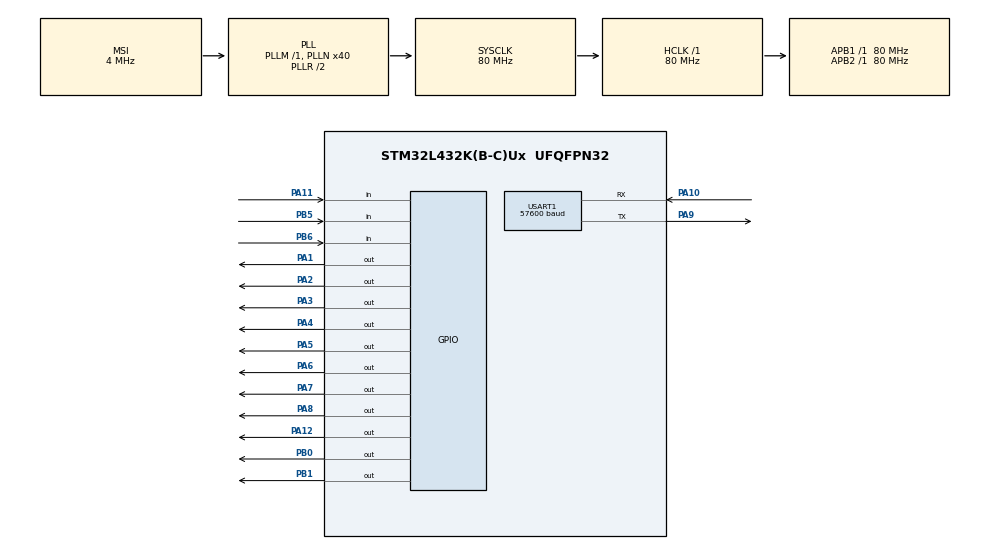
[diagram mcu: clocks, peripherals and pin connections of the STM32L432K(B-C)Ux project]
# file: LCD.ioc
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FREERTOS.Tasks01=defaultTask,24,128,StartDefaultTask,Default,NULL,Dynamic,NULL,NULL;AddFP,8,128,StartAddFP,Default,NULL,Dynamic,NULL,NULL;VerifyFP,8,128,StartVerifyFP,Default,NULL,Dynamic,NULL,NULL
Mcu.Family=STM32L4
Mcu.Name=STM32L432K(B-C)Ux
Mcu.Package=UFQFPN32
NVIC.PriorityGroup=NVIC_PRIORITYGROUP_4
NVIC.TIM2_IRQn=true\:15\:0\:false\:false\:true\:false\:false\:true
NVIC.TimeBase=TIM2_IRQn
NVIC.TimeBaseIP=TIM2
NVIC.USART1_IRQn=true\:5\:0\:false\:false\:true\:true\:true\:true
PA0.Mode=HSE-External-Clock-Source-for-LittleOrca
PA0.Signal=RCC_CK_IN
PA1.Signal=GPIO_Output
PA10.Mode=Asynchronous
PA10.Signal=USART1_RX
PA11.Signal=GPIO_Input
PA12.Signal=GPIO_Output
PA13\ (JTMS-SWDIO).Mode=Serial_Wire
PA13\ (JTMS-SWDIO).Signal=SYS_JTMS-SWDIO
PA14\ (JTCK-SWCLK).Mode=Serial_Wire
PA14\ (JTCK-SWCLK).Signal=SYS_JTCK-SWCLK
PA2.Signal=GPIO_Output
PA3.Signal=GPIO_Output
PA4.Signal=GPIO_Output
PA5.Signal=GPIO_Output
PA6.Signal=GPIO_Output
PA7.Signal=GPIO_Output
PA8.Signal=GPIO_Output
PA9.Mode=Asynchronous
PA9.Signal=USART1_TX
PB0.Signal=GPIO_Output
PB1.Signal=GPIO_Output
PB5.GPIO_PuPd=GPIO_PULLDOWN
PB5.Signal=GPIO_Input
PB6.GPIO_PuPd=GPIO_PULLDOWN
PB6.Signal=GPIO_Input
PC14-OSC32_IN\ (PC14).Mode=LSE-External-Oscillator
PC14-OSC32_IN\ (PC14).Signal=RCC_OSC32_IN
PC15-OSC32_OUT\ (PC15).Mode=LSE-External-Oscillator
PC15-OSC32_OUT\ (PC15).Signal=RCC_OSC32_OUT
ProjectManager.HeapSize=0x200
ProjectManager.StackSize=0x400
ProjectManager.TargetToolchain=MDK-ARM V5
RCC.ADCFreq_Value=16000000
RCC.AHBFreq_Value=80000000
RCC.APB1Freq_Value=80000000
RCC.APB1TimFreq_Value=80000000
RCC.APB2Freq_Value=80000000
RCC.APB2TimFreq_Value=80000000
RCC.CortexFreq_Value=80000000
RCC.HCLKFreq_Value=80000000
RCC.HSE_VALUE=8000000
RCC.HSI48_VALUE=48000000
RCC.HSI_VALUE=16000000
RCC.MSI_VALUE=4000000
RCC.PLLN=40
RCC.SYSCLKFreq_VALUE=80000000
RCC.SYSCLKSource=RCC_SYSCLKSOURCE_PLLCLK
RCC.USBFreq_Value=16000000
RCC.VCOOutputFreq_Value=160000000
TIM1.Period=0xffff-1
TIM1.Prescaler=71
USART1.BaudRate=57600
USART1.StopBits=STOPBITS_2
USART1.VirtualMode-Asynchronous=VM_ASYNC
VP_FREERTOS_VS_CMSIS_V2.Mode=CMSIS_V2
VP_SYS_VS_tim2.Mode=TIM2
VP_TIM1_VS_ClockSourceINT.Mode=Internal
board=custom

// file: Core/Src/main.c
/* USER CODE BEGIN Header */
/**
  ******************************************************************************
  * @file           : main.c
  * @brief          : Main program body
  ******************************************************************************
  * @attention
  *
  * <h2><center>&copy; Copyright (c) 2021 STMicroelectronics.
  * All rights reserved.</center></h2>
  *
  * This software component is licensed by ST under BSD 3-Clause license,
  * the "License"; You may not use this file except in compliance with the
  * License. You may obtain a copy of the License at:
  *                        opensource.org/licenses/BSD-3-Clause
  *
  ******************************************************************************
  */
/* USER CODE END Header */
#include "main.h"
#include "cmsis_os.h"

/* USER CODE BEGIN Includes */
#include "LCD1602.h"
uint8_t shoot=0;
uint8_t shoot1=0;

void debounce(void)
{
	// Counter for number of equal states
	static uint8_t count = 0;
	// Keeps track of current (debounced) state
	static uint8_t button_state = 0;
	// Check if button is high or low for the moment
	uint8_t current_state = HAL_GPIO_ReadPin(GPIOB, GPIO_PIN_5);
	if (current_state != button_state)
	{
		// Button state is about to be changed, increase counter
		count++;
		if (count >= 5) {
			// The button have not bounced for some checks, change state
			button_state = current_state;
			if (current_state != 0) {
				shoot=1;
			}
			count = 0;
		}
	} else {
	// Reset counter
		count = 0;
	}
}

void debounce2(void)
{
	// Counter for number of equal states
	static uint8_t count2 = 0;
	// Keeps track of current (debounced) state
	static uint8_t button_state2 = 0;
	// Check if button is high or low for the moment
	uint8_t current_state2 = HAL_GPIO_ReadPin(GPIOB, GPIO_PIN_6);
	if (current_state2 != button_state2)
	{
		// Button state is about to be changed, increase counter
		count2++;
		if (count2 >= 5) {
			// The button have not bounced for some checks, change state
			button_state2 = current_state2;
			if (current_state2 != 0) {
				shoot1=1;
			}
			count2 = 0;
		}
	} else {
	// Reset counter
		count2 = 0;
	}
}

/* USER CODE END Includes */

/* USER CODE BEGIN PTD */
uint8_t finger_id=1;
uint8_t FPM10A_RECEICE_BUFFER[12]={0x0,0x0,0x1,0x0,0x0,0x0,0x0,0x0,0x0,0xA,0x0,0x00};
/* USER CODE END PTD */

TIM_HandleTypeDef htim1;

UART_HandleTypeDef huart1;

/* Definitions for defaultTask */
osThreadId_t defaultTaskHandle;
const osThreadAttr_t defaultTask_attributes = {
  .name = "defaultTask",
  .stack_size = 128 * 4,
  .priority = (osPriority_t) osPriorityNormal,
};
/* Definitions for AddFP */
osThreadId_t AddFPHandle;
const osThreadAttr_t AddFP_attributes = {
  .name = "AddFP",
  .stack_size = 128 * 4,
  .priority = (osPriority_t) osPriorityLow,
};
/* Definitions for VerifyFP */
osThreadId_t VerifyFPHandle;
const osThreadAttr_t VerifyFP_attributes = {
  .name = "VerifyFP",
  .stack_size = 128 * 4,
  .priority = (osPriority_t) osPriorityLow,
};

void SystemClock_Config(void);
static void MX_GPIO_Init(void);
static void MX_TIM1_Init(void);
static void MX_USART1_UART_Init(void);
void StartDefaultTask(void *argument);
void StartAddFP(void *argument);
void StartVerifyFP(void *argument);

/* USER CODE BEGIN PFP */

uint8_t FPM10A_Pack_Head[6] = {0xEF,0x01,0xFF,0xFF,0xFF,0xFF};
uint8_t FPM10A_Get_Img[6] = {0x01,0x00,0x03,0x01,0x00,0x05};
uint8_t FPM10A_Search[11]={0x01,0x00,0x08,0x04,0x01,0x00,0x00,0x03,0xE7,0x00,0xF8};
uint8_t FPM10A_Img_To_Buffer1[7]={0x01,0x00,0x04,0x02,0x01,0x00,0x08};
uint8_t FPM10A_Img_To_Buffer2[7]={0x01,0x00,0x04,0x02,0x02,0x00,0x09};
uint8_t FPM10A_Reg_Model[6]={0x01,0x00,0x03,0x05,0x00,0x09};
uint8_t FPM10A_Save_Finger[9]={0x01,0x00,0x06,0x06,0x01,0x00,0x0B,0x00,0x19};

void FPM10A_Cmd_Send_Pack_Head(void)
{
	int i;
	taskENTER_CRITICAL();
	for(i=0;i<6;i++)
  {
	 HAL_UART_Transmit(&huart1, &FPM10A_Pack_Head[i],1,10000 );
	}
taskEXIT_CRITICAL();
}

void FPM10A_Cmd_Get_Img(void)
{
    unsigned char i;

    FPM10A_Cmd_Send_Pack_Head();
	taskENTER_CRITICAL();
    for(i=0;i<6;i++) //???? 0x1d
		{
				HAL_UART_Transmit(&huart1, &FPM10A_Get_Img[i],1,10000);

		}
		taskEXIT_CRITICAL();
}

void FPM10A_Receive_Data(unsigned char ucLength)
{
  unsigned char i;

	taskENTER_CRITICAL();
		HAL_UART_Receive(&huart1,FPM10A_RECEICE_BUFFER, 12,1000);

	 taskEXIT_CRITICAL();

}

void FPM10A_Cmd_Reg_Model(void)
{
       unsigned char i;

			 FPM10A_Cmd_Send_Pack_Head();
     taskENTER_CRITICAL();
       for(i=0;i<6;i++)
       {
    	      HAL_UART_Transmit(&huart1,&FPM10A_Reg_Model[i], 1,1000);
   		 }
			 taskEXIT_CRITICAL();
}

void FINGERPRINT_Cmd_Img_To_Buffer1(void)
{
 	unsigned char i;
	FPM10A_Cmd_Send_Pack_Head();
	taskENTER_CRITICAL();
	for(i=0;i<7;i++)
	{
		HAL_UART_Transmit(&huart1,&FPM10A_Img_To_Buffer1[i], 1,1000);
	}
	taskEXIT_CRITICAL();
}

void FINGERPRINT_Cmd_Img_To_Buffer2(void)
{
    unsigned char i;
		taskENTER_CRITICAL();
		for(i=0;i<6;i++)
		{
			HAL_UART_Transmit(&huart1,&FPM10A_Pack_Head[i], 1,1000);
		}
		taskEXIT_CRITICAL();
		taskENTER_CRITICAL();
		for(i=0;i<7;i++)
		{
			HAL_UART_Transmit(&huart1,&FPM10A_Img_To_Buffer2[i], 1,1000);
		}
		taskEXIT_CRITICAL();
}

void FPM10A_Cmd_Save_Finger( unsigned int storeID )
{
		unsigned long temp = 0;
		unsigned char i;
		FPM10A_Save_Finger[5] =(storeID&0xFF00)>>8;
		FPM10A_Save_Finger[6] = (storeID&0x00FF);

		for(i=0;i<7;i++)
			temp = temp + FPM10A_Save_Finger[i];
		FPM10A_Save_Finger[7]=(temp & 0x00FF00) >> 8;
		FPM10A_Save_Finger[8]= temp & 0x0000FF;
		FPM10A_Cmd_Send_Pack_Head();

		for(i=0;i<9;i++)
			HAL_UART_Transmit(&huart1, &FPM10A_Save_Finger[i], 1,1000);
}
void FPM10A_Cmd_Search_Finger(void)
{
	unsigned char i;
	FPM10A_Cmd_Send_Pack_Head();
		taskENTER_CRITICAL();
	for(i=0;i<11;i++)
	{
		HAL_UART_Transmit(&huart1, &FPM10A_Search[i], 1,1000);
	}
	taskEXIT_CRITICAL();
}

uint8_t fraud=0;
void FPM10A_Find_Fingerprint()
{
	HAL_Delay(2000);
	unsigned int find_fingerid = 0;
	//notify the user to place his finger
	lcd_send_string("Place your finger ");
	HAL_Delay(2000);
	lcd_clear();
	FPM10A_Cmd_Get_Img();
  // if Recieved successfully
	if(FPM10A_RECEICE_BUFFER[9]==0)
	{
		HAL_Delay(100);
		FINGERPRINT_Cmd_Img_To_Buffer1();
		HAL_Delay(100);
		FPM10A_Receive_Data(12);
		FPM10A_Cmd_Search_Finger();
		HAL_Delay(100);
		FPM10A_Receive_Data(16);
		// if Recieved successfully
		if(FPM10A_RECEICE_BUFFER[9] == 0)
		{
			HAL_Delay(100);
			lcd_send_string("Access Granted ");
			HAL_GPIO_WritePin(GPIOB, GPIO_PIN_1, 1);
			HAL_Delay(1500);
			HAL_GPIO_WritePin(GPIOB, GPIO_PIN_1, 0);
			fraud=0;
			HAL_Delay(2000);
			lcd_clear();
		}
		else
		{ HAL_Delay(100);
			lcd_send_string("Access Denied ");
			fraud = fraud + 1;
			HAL_GPIO_WritePin(GPIOB, GPIO_PIN_0, 1);
			HAL_Delay(1500);
			HAL_GPIO_WritePin(GPIOB, GPIO_PIN_0, 0);
			HAL_Delay(2000);
			lcd_clear();
		}
	}
	else
		{ HAL_Delay(100);
			lcd_send_string("Access Denied ");
			HAL_GPIO_WritePin(GPIOB, GPIO_PIN_0, 1);
			HAL_Delay(1500);
			HAL_GPIO_WritePin(GPIOB, GPIO_PIN_0, 0);
			fraud = fraud + 1;
			HAL_Delay(2000);
			lcd_clear();
		}
}

/* USER CODE END PFP */

/* USER CODE BEGIN 0 */
int row=0;
int col=0;

/* USER CODE END 0 */

int main(void)
{

  /* MCU Configuration--------------------------------------------------------*/

  /* Reset of all peripherals, Initializes the Flash interface and the Systick. */
  HAL_Init();

  /* Configure the system clock */
  SystemClock_Config();

  /* Initialize all configured peripherals */
  MX_GPIO_Init();
  MX_TIM1_Init();
  MX_USART1_UART_Init();
  /* USER CODE BEGIN 2 */

	HAL_TIM_Base_Start(&htim1);
  lcd_init ();
  lcd_put_cur(0, 0);
  lcd_send_string("HELLO ");
	HAL_Delay(3000);
  lcd_clear();
	lcd_send_string("TO ADD -> 1");
	lcd_send_string("");
	lcd_put_cur(1, 0);
	lcd_send_string("TO VERIFY -> 2");
	lcd_send_string("");
  HAL_Delay(3000);
  lcd_clear();

  /* USER CODE END 2 */

  /* Init scheduler */
  osKernelInitialize();

  /* Create the thread(s) */
  /* creation of defaultTask */
  defaultTaskHandle = osThreadNew(StartDefaultTask, NULL, &defaultTask_attributes);

  /* creation of AddFP */
  AddFPHandle = osThreadNew(StartAddFP, NULL, &AddFP_attributes);

  /* creation of VerifyFP */
  VerifyFPHandle = osThreadNew(StartVerifyFP, NULL, &VerifyFP_attributes);

  /* Start scheduler */
  osKernelStart();

  /* We should never get here as control is now taken by the scheduler */
  /* Infinite loop */
  while (1)
  {

	}
}

void SystemClock_Config(void)
{
  RCC_OscInitTypeDef RCC_OscInitStruct = {0};
  RCC_ClkInitTypeDef RCC_ClkInitStruct = {0};

  /** Configure the main internal regulator output voltage
  */
  if (HAL_PWREx_ControlVoltageScaling(PWR_REGULATOR_VOLTAGE_SCALE1) != HAL_OK)
  {
    Error_Handler();
  }
  /** Configure LSE Drive Capability
  */
  HAL_PWR_EnableBkUpAccess();
  __HAL_RCC_LSEDRIVE_CONFIG(RCC_LSEDRIVE_LOW);
  /** Initializes the RCC Oscillators according to the specified parameters
  * in the RCC_OscInitTypeDef structure.
  */
  RCC_OscInitStruct.OscillatorType = RCC_OSCILLATORTYPE_LSE|RCC_OSCILLATORTYPE_MSI;
  RCC_OscInitStruct.LSEState = RCC_LSE_ON;
  RCC_OscInitStruct.MSIState = RCC_MSI_ON;
  RCC_OscInitStruct.MSICalibrationValue = 0;
  RCC_OscInitStruct.MSIClockRange = RCC_MSIRANGE_6;
  RCC_OscInitStruct.PLL.PLLState = RCC_PLL_ON;
  RCC_OscInitStruct.PLL.PLLSource = RCC_PLLSOURCE_MSI;
  RCC_OscInitStruct.PLL.PLLM = 1;
  RCC_OscInitStruct.PLL.PLLN = 40;
  RCC_OscInitStruct.PLL.PLLP = RCC_PLLP_DIV7;
  RCC_OscInitStruct.PLL.PLLQ = RCC_PLLQ_DIV2;
  RCC_OscInitStruct.PLL.PLLR = RCC_PLLR_DIV2;
  if (HAL_RCC_OscConfig(&RCC_OscInitStruct) != HAL_OK)
  {
    Error_Handler();
  }
  /** Initializes the CPU, AHB and APB buses clocks
  */
  RCC_ClkInitStruct.ClockType = RCC_CLOCKTYPE_HCLK|RCC_CLOCKTYPE_SYSCLK
                              |RCC_CLOCKTYPE_PCLK1|RCC_CLOCKTYPE_PCLK2;
  RCC_ClkInitStruct.SYSCLKSource = RCC_SYSCLKSOURCE_PLLCLK;
  RCC_ClkInitStruct.AHBCLKDivider = RCC_SYSCLK_DIV1;
  RCC_ClkInitStruct.APB1CLKDivider = RCC_HCLK_DIV1;
  RCC_ClkInitStruct.APB2CLKDivider = RCC_HCLK_DIV1;

  if (HAL_RCC_ClockConfig(&RCC_ClkInitStruct, FLASH_LATENCY_4) != HAL_OK)
  {
    Error_Handler();
  }
  /** Enable MSI Auto calibration
  */
  HAL_RCCEx_EnableMSIPLLMode();
}

static void MX_TIM1_Init(void)
{

  TIM_ClockConfigTypeDef sClockSourceConfig = {0};
  TIM_MasterConfigTypeDef sMasterConfig = {0};

  htim1.Instance = TIM1;
  htim1.Init.Prescaler = 71;
  htim1.Init.CounterMode = TIM_COUNTERMODE_UP;
  htim1.Init.Period = 0xffff-1;
  htim1.Init.ClockDivision = TIM_CLOCKDIVISION_DIV1;
  htim1.Init.RepetitionCounter = 0;
  htim1.Init.AutoReloadPreload = TIM_AUTORELOAD_PRELOAD_DISABLE;
  if (HAL_TIM_Base_Init(&htim1) != HAL_OK)
  {
    Error_Handler();
  }
  sClockSourceConfig.ClockSource = TIM_CLOCKSOURCE_INTERNAL;
  if (HAL_TIM_ConfigClockSource(&htim1, &sClockSourceConfig) != HAL_OK)
  {
    Error_Handler();
  }
  sMasterConfig.MasterOutputTrigger = TIM_TRGO_RESET;
  sMasterConfig.MasterOutputTrigger2 = TIM_TRGO2_RESET;
  sMasterConfig.MasterSlaveMode = TIM_MASTERSLAVEMODE_DISABLE;
  if (HAL_TIMEx_MasterConfigSynchronization(&htim1, &sMasterConfig) != HAL_OK)
  {
    Error_Handler();
  }

}

static void MX_USART1_UART_Init(void)
{

  huart1.Instance = USART1;
  huart1.Init.BaudRate = 57600;
  huart1.Init.WordLength = UART_WORDLENGTH_8B;
  huart1.Init.StopBits = UART_STOPBITS_2;
  huart1.Init.Parity = UART_PARITY_NONE;
  huart1.Init.Mode = UART_MODE_TX_RX;
  huart1.Init.HwFlowCtl = UART_HWCONTROL_NONE;
  huart1.Init.OverSampling = UART_OVERSAMPLING_16;
  huart1.Init.OneBitSampling = UART_ONE_BIT_SAMPLE_DISABLE;
  huart1.AdvancedInit.AdvFeatureInit = UART_ADVFEATURE_NO_INIT;
  if (HAL_UART_Init(&huart1) != HAL_OK)
  {
    Error_Handler();
  }

}

static void MX_GPIO_Init(void)
{
  GPIO_InitTypeDef GPIO_InitStruct = {0};

  /* GPIO Ports Clock Enable */
  __HAL_RCC_GPIOC_CLK_ENABLE();
  __HAL_RCC_GPIOA_CLK_ENABLE();
  __HAL_RCC_GPIOB_CLK_ENABLE();

  /*Configure GPIO pin Output Level */
  HAL_GPIO_WritePin(GPIOA, GPIO_PIN_1|GPIO_PIN_2|GPIO_PIN_3|GPIO_PIN_4
                          |GPIO_PIN_5|GPIO_PIN_6|GPIO_PIN_7|GPIO_PIN_8
                          |GPIO_PIN_12, GPIO_PIN_RESET);

  /*Configure GPIO pin Output Level */
  HAL_GPIO_WritePin(GPIOB, GPIO_PIN_0|GPIO_PIN_1, GPIO_PIN_RESET);

  /*Configure GPIO pins : PA1 PA2 PA3 PA4
                           PA5 PA6 PA7 PA8
                           PA12 */
  GPIO_InitStruct.Pin = GPIO_PIN_1|GPIO_PIN_2|GPIO_PIN_3|GPIO_PIN_4
                          |GPIO_PIN_5|GPIO_PIN_6|GPIO_PIN_7|GPIO_PIN_8
                          |GPIO_PIN_12;
  GPIO_InitStruct.Mode = GPIO_MODE_OUTPUT_PP;
  GPIO_InitStruct.Pull = GPIO_NOPULL;
  GPIO_InitStruct.Speed = GPIO_SPEED_FREQ_LOW;
  HAL_GPIO_Init(GPIOA, &GPIO_InitStruct);

  /*Configure GPIO pins : PB0 PB1 */
  GPIO_InitStruct.Pin = GPIO_PIN_0|GPIO_PIN_1;
  GPIO_InitStruct.Mode = GPIO_MODE_OUTPUT_PP;
  GPIO_InitStruct.Pull = GPIO_NOPULL;
  GPIO_InitStruct.Speed = GPIO_SPEED_FREQ_LOW;
  HAL_GPIO_Init(GPIOB, &GPIO_InitStruct);

  /*Configure GPIO pin : PA11 */
  GPIO_InitStruct.Pin = GPIO_PIN_11;
  GPIO_InitStruct.Mode = GPIO_MODE_INPUT;
  GPIO_InitStruct.Pull = GPIO_NOPULL;
  HAL_GPIO_Init(GPIOA, &GPIO_InitStruct);

  /*Configure GPIO pins : PB5 PB6 */
  GPIO_InitStruct.Pin = GPIO_PIN_5|GPIO_PIN_6;
  GPIO_InitStruct.Mode = GPIO_MODE_INPUT;
  GPIO_InitStruct.Pull = GPIO_PULLDOWN;
  HAL_GPIO_Init(GPIOB, &GPIO_InitStruct);

}

void StartDefaultTask(void *argument)
{
  for(;;)
  {
    osDelay(1);
  }
}

void StartAddFP(void *argument)
{
  /* USER CODE BEGIN StartAddFP */
  /* Infinite loop */
  for(;;)
  {
    osDelay(1);
		debounce();
		if(shoot)
		{
				lcd_clear();
				HAL_Delay(100);
        // Notify the user to press
				lcd_send_string("ADD FINGER");
		    HAL_Delay(3000);
	     	lcd_clear();
			  // send the command packet to the sensor
		    FPM10A_Cmd_Get_Img();
				HAL_Delay(100);
			  // Rescieve the respond packet from the sensor through UART2
				FPM10A_Receive_Data(12);
				HAL_Delay(100);
			  // check if the data recieved successfully
				if(FPM10A_RECEICE_BUFFER[9]==0)
				 {
					HAL_Delay(100);
					 // send the sensor to save the finger print to the buffer
					FINGERPRINT_Cmd_Img_To_Buffer1();
					HAL_Delay(100);
				  FPM10A_Receive_Data(12);
					lcd_send_string("Successful entry");
					lcd_put_cur(1, 0);
					HAL_Delay(3000);
					lcd_clear();
					// notify the user again to put his finger
					lcd_send_string(" ADD FINGER ");
			  	HAL_Delay(3000);
					 FPM10A_Cmd_Get_Img();
					 HAL_Delay(100);
					 FPM10A_Receive_Data(12);
					 HAL_Delay(100);
					 lcd_clear();
					 // if the packet saved suucessfully
					if(FPM10A_RECEICE_BUFFER[9]==0)
					{
						HAL_Delay(2000);
						lcd_send_string("Successful entry");
						lcd_put_cur(1, 0);
						// assign a unique ID to each user
						lcd_send_string(" ID is " );
						char currID = finger_id + 48;
						lcd_send_data(currID);
						FINGERPRINT_Cmd_Img_To_Buffer2();
						HAL_Delay(100);
				  	FPM10A_Receive_Data(12);
						FPM10A_Cmd_Reg_Model();
						HAL_Delay(100);
	         	FPM10A_Receive_Data(12);

            HAL_Delay(100);

						HAL_Delay(3000);
						finger_id=finger_id+1;
						HAL_Delay(3000);
            lcd_clear();

				  	}
					else if( FPM10A_RECEICE_BUFFER[9]==2)

					{
					 lcd_send_string("Fail to detect");
						HAL_Delay(3000);
            lcd_clear();

					}
					else
						lcd_send_string("Nothing happened");
					  HAL_Delay(3000);
            lcd_clear();
				   }
		     else if( FPM10A_RECEICE_BUFFER[9]==2)

					{
					  lcd_send_string("Fail to detect2");
						HAL_Delay(3000);
            lcd_clear();

					}
					else
					{
						lcd_send_string("Nothing happened");
					}
			shoot=0;
			HAL_Delay(1000);
			lcd_clear();
		}

  }
  /* USER CODE END StartAddFP */
}

void StartVerifyFP(void *argument)
{
  /* USER CODE BEGIN StartVerifyFP */
  /* Infinite loop */
  for(;;)
  {
    osDelay(1);
		debounce2();
		if(shoot1)
		{

			FPM10A_Find_Fingerprint();

			shoot1=0;
			HAL_Delay(1000);
			lcd_clear();

		}
		if(fraud==3)
		{
			HAL_GPIO_WritePin(GPIOA, GPIO_PIN_8,1);
			fraud=0;
			HAL_Delay(2000);
			HAL_GPIO_WritePin(GPIOA, GPIO_PIN_8,0);
		}
  }

  }
  /* USER CODE END StartVerifyFP */

void HAL_TIM_PeriodElapsedCallback(TIM_HandleTypeDef *htim)
{
  if (htim->Instance == TIM2) {
    HAL_IncTick();
  }
}

void Error_Handler(void)
{
  __disable_irq();
  while (1)
  {
  }
}

/************************ (C) COPYRIGHT STMicroelectronics *****END OF FILE****/
